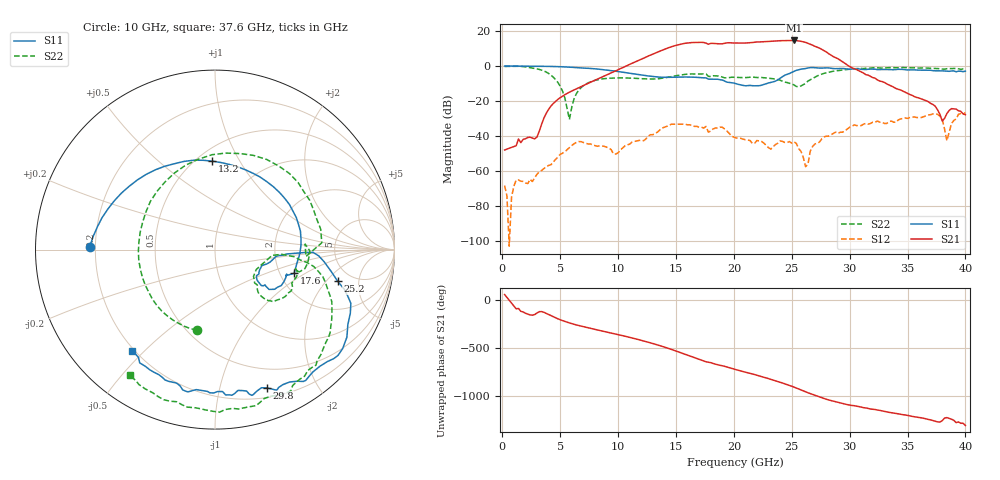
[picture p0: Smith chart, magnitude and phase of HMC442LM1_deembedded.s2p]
!Hittite Microwave Corporation
!12 Elizabeth Drive
!Chelmsford, MA 01824
!Tel: 978-250-3343
!Fax: 978-250-3373
!Device: HMC442LM1, 17.5-24 GHz GaAs PHEMT MMIc Medium Power Amplifier in SMT leadless chip carrier package
!Misc: Vdd = +5V, Room
# MHZ S MA R 50
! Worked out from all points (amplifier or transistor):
!   200 points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, 200 MHz to 40 GHz, reference 50 ohm
!   highest |S21| = 14.6 dB at 25.2 GHz (marker M1)
!   |S21| within 3 dB of that: 14.9 GHz to 26.9 GHz (12 GHz wide, 57.4 % of centre)
!   unconditionally stable (mu >= 1): 1.397 GHz to end of sweep
!   at 6.8 GHz: K = 59.52, MAG = -5.1 dB, |S12| = -43.1 dB
!   at 20.2 GHz: K = 8.59, MAG = 14.8 dB, |S12| = -41.1 dB
!   at 40 GHz: K = 40.58, MAG = -19.7 dB, |S12| = -26.6 dB
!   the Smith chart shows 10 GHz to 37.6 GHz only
!   S11 on the Smith chart (normalised r, x): 10 GHz: 0.18, +0.01; 13.2 GHz: 0.60, +0.77; 17.6 GHz: 2.39, -0.80; 25.2 GHz: 3.83, -2.67; 29.8 GHz: 0.29, -1.40; 37.6 GHz: 0.19, -0.46
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200  1.001 -3.4  0.00402 55.6  0.0003904 -132.6  0.975 -4.2
5800  0.93 -100.3  0.18 119.8  0.004707 59.7  0.03 70.2
7000  0.875 -120.6  0.276 81.3  0.006592 3.0  0.275 -35.0
10000  0.698 178.7  0.785 -1.5  0.003348 18.8  0.46 -102.6
13200  0.493 91.7  2.327 -102.0  0.012 34.2  0.428 166.7
13600  0.481 80.3  2.641 -116.3  0.015 35.4  0.438 151.7
14600  0.476 52.8  3.541 -155.7  0.022 13.7  0.498 109.2
15600  0.484 26.5  4.322 161.1  0.022 -7.7  0.567 67.8
16600  0.48 3.1  4.7 116.8  0.019 -25.4  0.591 32.8
17600  0.46 -16.7  4.5 74.6  0.019 -31.7  0.596 3.6
20200  0.313 -37.2  4.547 -7.6  0.008811 -60.1  0.475 -19.9
21800  0.273 -23.9  4.787 -58.3  0.006322 -73.4  0.476 -30.2
23000  0.329 -9.3  5.026 -100.8  0.00467 -154.7  0.45 -38.2
24000  0.448 -2.6  5.278 -138.6  0.007301 159.3  0.394 -44.7
25200  0.705 -14.4  5.366 171.3  0.006952 97.5  0.289 -40.1
26000  0.833 -25.2  4.909 132.1  0.002452 30.4  0.293 -11.9
26800  0.904 -40.7  3.946 94.6  0.00505 -129.8  0.441 -5.1
28000  0.887 -55.3  2.508 43.9  0.01 -167.7  0.643 -16.7
29800  0.822 -69.5  1.067 -11.7  0.016 177.7  0.799 -37.6
33400  0.791 -93.1  0.288 -91.8  0.026 152.8  0.899 -75.3
37600  0.731 -129.4  0.056 168.9  0.042 87.2  0.845 -124.1
40000  0.714 -156.9  0.041 131.5  0.047 102.0  0.828 -157.8
